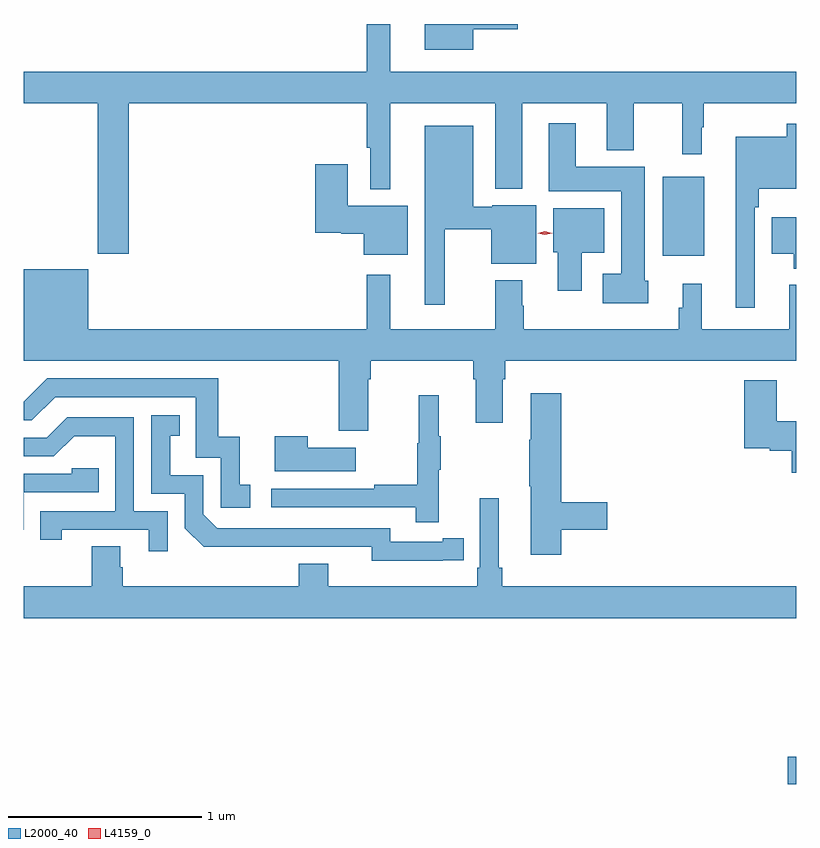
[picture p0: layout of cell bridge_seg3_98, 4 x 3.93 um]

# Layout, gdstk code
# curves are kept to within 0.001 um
import gdstk
lib = gdstk.Library(unit=1e-6, precision=1e-09)
def R(c, l, rs):  # rectangles x0, y0, x1, y1
    for r in rs: c.add(gdstk.rectangle(r[:2], r[2:], *l))
def P(c, l, *ps):  # polygons
    for p in ps: c.add(gdstk.Polygon(p, *l))
L2000_40 = (2000, 40)
L4159_0 = (4159, 0)

bridge_seg3_98 = lib.new_cell('bridge_seg3_98')
R(bridge_seg3_98, L2000_40, [(493.674,729.361,493.719,729.503), (493.028,732.095,493.243,732.505)])
P(bridge_seg3_98, L2000_40, [(490.262,732.884),(491.496,732.884),(491.496,732.655),(491.513,732.655),(491.513,732.44),(491.617,732.44),(491.617,732.884),(492.161,732.884),(492.161,732.443),(492.301,732.443),(492.301,732.884),(492.737,732.884),(492.737,732.641),(492.877,732.641),(492.877,732.884),(493.129,732.884),(493.129,732.621),(493.228,732.621),(493.228,732.761),(493.24,732.761),(493.24,732.884),(493.719,732.884),(493.719,733.048),(491.617,733.048),(491.617,733.295),(491.496,733.295),(491.496,733.048),(489.719,733.048),(489.719,732.884),(490.102,732.884),(490.102,732.105),(490.262,732.105)],
  [(492.046,733.268),(492.277,733.268),(492.277,733.295),(491.795,733.295),(491.795,733.163),(492.046,733.163)],
  [(492.952,731.967),(492.934,731.967),(492.934,732.556),(492.577,732.556),(492.577,732.781),(492.437,732.781),(492.437,732.428),(492.812,732.428),(492.812,732.001),(492.717,732.001),(492.717,731.849),(492.952,731.849)],
  [(493.503,732.347),(493.523,732.347),(493.523,732.443),(493.719,732.443),(493.719,732.778),(493.668,732.778),(493.668,732.712),(493.406,732.712),(493.406,731.826),(493.503,731.826)],
  [(491.899,732.232),(492.14,732.232),(492.14,732.053),(492.373,732.053),(492.373,732.358),(492.144,732.358),(492.144,732.348),(492.046,732.348),(492.046,732.769),(491.795,732.769),(491.795,731.841),(491.899,731.841)],
  [(491.707,732.355),(491.398,732.355),(491.398,732.568),(491.228,732.568),(491.228,732.215),(491.364,732.215),(491.364,732.208),(491.48,732.208),(491.48,732.101),(491.707,732.101)],
  [(492.607,732.11),(492.724,732.11),(492.724,732.34),(492.461,732.34),(492.461,732.114),(492.485,732.114),(492.485,731.913),(492.607,731.913)],
  [(493.719,732.295),(493.592,732.295),(493.592,732.107),(493.706,732.107),(493.706,732.029),(493.719,732.029)],
  [(491.503,731.456),(491.516,731.456),(491.516,731.552),(492.047,731.552),(492.047,731.456),(492.059,731.456),(492.059,731.232),(492.199,731.232),(492.199,731.456),(492.212,731.456),(492.212,731.552),(493.719,731.552),(493.719,731.944),(493.682,731.944),(493.682,731.716),(493.229,731.716),(493.229,731.95),(493.13,731.95),(493.13,731.825),(493.111,731.825),(493.111,731.716),(492.309,731.716),(492.309,731.837),(492.301,731.837),(492.301,731.968),(492.161,731.968),(492.161,731.716),(491.617,731.716),(491.617,731.998),(491.496,731.998),(491.496,731.716),(490.054,731.716),(490.054,732.025),(489.719,732.025),(489.719,731.552),(491.351,731.552),(491.351,731.19),(491.503,731.19)],
  [(490.891,730.911),(490.838,730.911),(490.838,731.158),(490.727,731.158),(490.727,731.46),(489.84,731.46),(489.719,731.34),(489.719,731.244),(489.762,731.244),(489.882,731.364),(490.611,731.364),(490.611,731.049),(490.74,731.049),(490.74,730.791),(490.891,730.791)],
  [(493.719,731.239),(493.618,731.239),(493.618,731.452),(493.448,731.452),(493.448,731.099),(493.581,731.099),(493.581,731.087),(493.694,731.087),(493.694,730.973),(493.719,730.973)],
  [(492.503,730.678),(492.739,730.678),(492.739,730.82),(492.503,730.82),(492.503,731.383),(492.344,731.383),(492.344,731.144),(492.337,731.144),(492.337,730.903),(492.344,730.903),(492.344,730.548),(492.503,730.548)],
  [(491.867,730.987),(491.878,730.987),(491.878,731.161),(491.867,731.161),(491.867,731.374),(491.764,731.374),(491.764,731.124),(491.757,731.124),(491.757,730.91),(491.533,730.91),(491.533,730.89),(491.001,730.89),(491.001,730.794),(491.749,730.794),(491.749,730.716),(491.867,730.716)],
  [(491.888,730.518),(491.996,730.518),(491.996,730.634),(491.888,730.634),(491.888,730.614),(491.616,730.614),(491.616,730.686),(490.722,730.686),(490.65,730.758),(490.65,730.959),(490.477,730.959),(490.477,731.163),(490.526,731.163),(490.526,731.269),(490.38,731.269),(490.38,730.863),(490.554,730.863),(490.554,730.686),(490.652,730.589),(491.52,730.59),(491.52,730.517)],
  [(490.464,730.773),(490.29,730.773),(490.29,731.259),(489.944,731.259),(489.839,731.154),(489.719,731.154),(489.719,731.058),(489.876,731.058),(489.98,731.162),(490.194,731.162),(490.194,730.773),(489.805,730.773),(489.805,730.626),(489.916,730.626),(489.916,730.677),(490.367,730.677),(490.367,730.566),(490.464,730.566)],
  [(491.437,731.101),(491.189,731.101),(491.189,731.161),(491.018,731.161),(491.018,730.979),(491.437,730.979)],
  [(489.72,730.872),(490.109,730.872),(490.109,730.995),(489.969,730.995),(489.969,730.968),(489.719,730.968),(489.719,730.677),(489.72,730.677)],
  [(491.144,730.501),(491.144,730.384),(490.232,730.384),(490.232,730.482),(490.219,730.482),(490.219,730.592),(490.072,730.592),(490.072,730.384),(489.719,730.384),(489.719,730.22),(493.719,730.22),(493.719,730.384),(492.197,730.384),(492.197,730.48),(492.178,730.48),(492.178,730.84),(492.081,730.84),(492.081,730.48),(492.068,730.48),(492.068,730.384),(491.296,730.384),(491.296,730.501)])
P(bridge_seg3_98, L4159_0, [(492.417,732.203),(492.379,732.213),(492.378,732.213),(492.379,732.213),(492.417,732.223),(492.456,732.213),(492.456,732.213),(492.456,732.213)])

lib.write_gds('bridge_seg3_98.gds')
